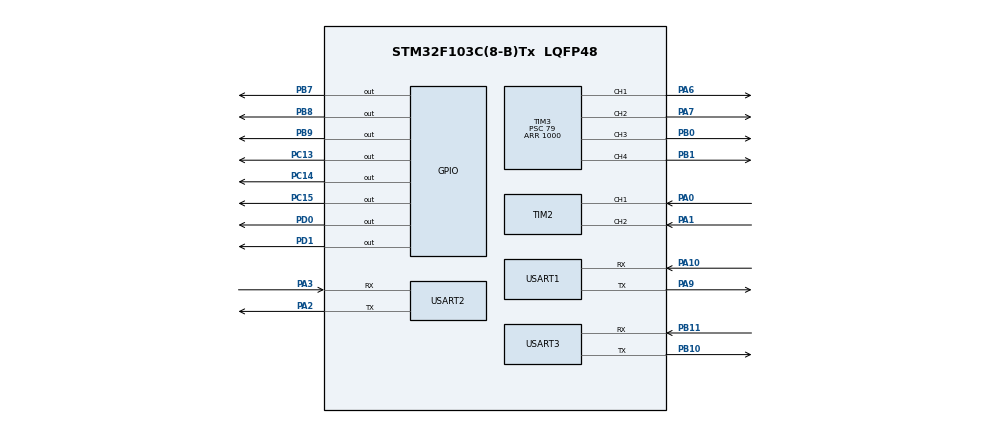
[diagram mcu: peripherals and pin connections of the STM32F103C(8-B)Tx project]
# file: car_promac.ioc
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Mcu.Family=STM32F1
Mcu.Name=STM32F103C(8-B)Tx
Mcu.Package=LQFP48
NVIC.PriorityGroup=NVIC_PRIORITYGROUP_4
NVIC.TIM1_UP_IRQn=true\:0\:0\:false\:false\:true\:true\:true\:true
NVIC.USART1_IRQn=true\:0\:0\:false\:false\:true\:true\:true\:true
NVIC.USART2_IRQn=true\:0\:0\:false\:false\:true\:true\:true\:true
PA0-WKUP.Signal=S_TIM2_CH1_ETR
PA1.Signal=S_TIM2_CH2
PA10.Mode=Asynchronous
PA10.Signal=USART1_RX
PA13.Mode=Serial_Wire
PA13.Signal=SYS_JTMS-SWDIO
PA14.Mode=Serial_Wire
PA14.Signal=SYS_JTCK-SWCLK
PA2.Mode=Asynchronous
PA2.Signal=USART2_TX
PA3.Mode=Asynchronous
PA3.Signal=USART2_RX
PA6.Signal=S_TIM3_CH1
PA7.Signal=S_TIM3_CH2
PA9.Mode=Asynchronous
PA9.Signal=USART1_TX
PB0.Signal=S_TIM3_CH3
PB1.Signal=S_TIM3_CH4
PB10.Mode=Asynchronous
PB10.Signal=USART3_TX
PB11.Mode=Asynchronous
PB11.Signal=USART3_RX
PB7.Signal=GPIO_Output
PB8.Signal=GPIO_Output
PB9.Signal=GPIO_Output
PC13-TAMPER-RTC.Signal=GPIO_Output
PC14-OSC32_IN.Signal=GPIO_Output
PC15-OSC32_OUT.Signal=GPIO_Output
PD0-OSC_IN.Signal=GPIO_Output
PD1-OSC_OUT.Signal=GPIO_Output
ProjectManager.HeapSize=0x200
ProjectManager.StackSize=0x400
ProjectManager.TargetToolchain=MDK-ARM V5.32
RCC.APB1Freq_Value=8000000
RCC.APB2Freq_Value=8000000
SH.S_TIM2_CH1_ETR.0=TIM2_CH1,Encoder_Interface
SH.S_TIM2_CH2.0=TIM2_CH2,Encoder_Interface
SH.S_TIM3_CH1.0=TIM3_CH1,PWM Generation1 CH1
SH.S_TIM3_CH2.0=TIM3_CH2,PWM Generation2 CH2
SH.S_TIM3_CH3.0=TIM3_CH3,PWM Generation3 CH3
SH.S_TIM3_CH4.0=TIM3_CH4,PWM Generation4 CH4
TIM1.Period=1000
TIM1.Prescaler=799
TIM3.Channel-PWM\ Generation1\ CH1=TIM_CHANNEL_1
TIM3.Channel-PWM\ Generation2\ CH2=TIM_CHANNEL_2
TIM3.Channel-PWM\ Generation3\ CH3=TIM_CHANNEL_3
TIM3.Channel-PWM\ Generation4\ CH4=TIM_CHANNEL_4
TIM3.Period=1000
TIM3.Prescaler=79
USART1.VirtualMode=VM_ASYNC
USART2.VirtualMode=VM_ASYNC
USART3.VirtualMode=VM_ASYNC
VP_TIM1_VS_ClockSourceINT.Mode=Internal
board=custom

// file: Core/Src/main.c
/* USER CODE BEGIN Header */
/**
  ******************************************************************************
  * @file           : main.c
  * @brief          : Main program body
  ******************************************************************************
  * @attention
  *
  * Copyright (c) 2026 STMicroelectronics.
  * All rights reserved.
  *
  * This software is licensed under terms that can be found in the LICENSE file
  * in the root directory of this software component.
  * If no LICENSE file comes with this software, it is provided AS-IS.
  *
  ******************************************************************************
  */

/* USER CODE END Header */
#include "main.h"

/* USER CODE BEGIN Includes */
#include "../../BSP/BLUE/blue.h"
#include "../../BSP/RECEIVE/receive.h"
#include "../../BSP/PID/pid.h"
extern PID pid_fl;
extern PID pid_fr;extern PID pid_rl;extern PID pid_rr;
work_state work={0};
work_state work_fr={0};
work_state work_rr={0};
work_state work_rl={0};
/* USER CODE END Includes */

TIM_HandleTypeDef htim1;
TIM_HandleTypeDef htim2;
TIM_HandleTypeDef htim3;

UART_HandleTypeDef huart1;
UART_HandleTypeDef huart2;
UART_HandleTypeDef huart3;

void SystemClock_Config(void);
static void MX_GPIO_Init(void);
static void MX_TIM3_Init(void);
static void MX_USART1_UART_Init(void);
static void MX_TIM2_Init(void);
static void MX_TIM1_Init(void);
static void MX_USART2_UART_Init(void);
static void MX_USART3_UART_Init(void);

int main(void)
{

  /* MCU Configuration--------------------------------------------------------*/

  /* Reset of all peripherals, Initializes the Flash interface and the Systick. */
  HAL_Init();

  /* Configure the system clock */
  SystemClock_Config();

  /* Initialize all configured peripherals */
  MX_GPIO_Init();
  MX_TIM3_Init();
  MX_USART1_UART_Init();
  MX_TIM2_Init();
  MX_TIM1_Init();
  MX_USART2_UART_Init();
  MX_USART3_UART_Init();

  /* Infinite loop */
  /* USER CODE BEGIN WHILE */
bt_start();
HAL_TIM_PWM_Start (&htim3,TIM_CHANNEL_1);
HAL_TIM_PWM_Start (&htim3 ,TIM_CHANNEL_2);
HAL_TIM_PWM_Start (&htim3 ,TIM_CHANNEL_3);
HAL_TIM_PWM_Start (&htim3 ,TIM_CHANNEL_4);

pid_init_fl (&pid_fl,2.0f,4.0f,0.0f,250.0,1000.0 );

pid_init_fr (&pid_fr,2.0f,4.0f,0.0f,250.0,1000.0 );

pid_init_rl (&pid_rl,2.0f,4.0f,0.0f,250.0,1000.0 );

pid_init_rr (&pid_rr,2.0f,4.0f,0.0f,250.0,1000.0 );

uart_receive_start ();

HAL_TIM_Encoder_Start(&htim2, TIM_CHANNEL_1);
	HAL_TIM_Base_Start_IT(&htim1);

  while (1)
  {

	 if(get_bit(&work)==true){

	 }

    /* USER CODE END WHILE */

  }
}

void SystemClock_Config(void)
{
  RCC_OscInitTypeDef RCC_OscInitStruct = {0};
  RCC_ClkInitTypeDef RCC_ClkInitStruct = {0};

  /** Initializes the RCC Oscillators according to the specified parameters
  * in the RCC_OscInitTypeDef structure.
  */
  RCC_OscInitStruct.OscillatorType = RCC_OSCILLATORTYPE_HSI;
  RCC_OscInitStruct.HSIState = RCC_HSI_ON;
  RCC_OscInitStruct.HSICalibrationValue = RCC_HSICALIBRATION_DEFAULT;
  RCC_OscInitStruct.PLL.PLLState = RCC_PLL_NONE;
  if (HAL_RCC_OscConfig(&RCC_OscInitStruct) != HAL_OK)
  {
    Error_Handler();
  }

  /** Initializes the CPU, AHB and APB buses clocks
  */
  RCC_ClkInitStruct.ClockType = RCC_CLOCKTYPE_HCLK|RCC_CLOCKTYPE_SYSCLK
                              |RCC_CLOCKTYPE_PCLK1|RCC_CLOCKTYPE_PCLK2;
  RCC_ClkInitStruct.SYSCLKSource = RCC_SYSCLKSOURCE_HSI;
  RCC_ClkInitStruct.AHBCLKDivider = RCC_SYSCLK_DIV1;
  RCC_ClkInitStruct.APB1CLKDivider = RCC_HCLK_DIV1;
  RCC_ClkInitStruct.APB2CLKDivider = RCC_HCLK_DIV1;

  if (HAL_RCC_ClockConfig(&RCC_ClkInitStruct, FLASH_LATENCY_0) != HAL_OK)
  {
    Error_Handler();
  }
}

static void MX_TIM1_Init(void)
{

  TIM_ClockConfigTypeDef sClockSourceConfig = {0};
  TIM_MasterConfigTypeDef sMasterConfig = {0};

  htim1.Instance = TIM1;
  htim1.Init.Prescaler = 799;
  htim1.Init.CounterMode = TIM_COUNTERMODE_UP;
  htim1.Init.Period = 1000;
  htim1.Init.ClockDivision = TIM_CLOCKDIVISION_DIV1;
  htim1.Init.RepetitionCounter = 0;
  htim1.Init.AutoReloadPreload = TIM_AUTORELOAD_PRELOAD_DISABLE;
  if (HAL_TIM_Base_Init(&htim1) != HAL_OK)
  {
    Error_Handler();
  }
  sClockSourceConfig.ClockSource = TIM_CLOCKSOURCE_INTERNAL;
  if (HAL_TIM_ConfigClockSource(&htim1, &sClockSourceConfig) != HAL_OK)
  {
    Error_Handler();
  }
  sMasterConfig.MasterOutputTrigger = TIM_TRGO_RESET;
  sMasterConfig.MasterSlaveMode = TIM_MASTERSLAVEMODE_DISABLE;
  if (HAL_TIMEx_MasterConfigSynchronization(&htim1, &sMasterConfig) != HAL_OK)
  {
    Error_Handler();
  }

}

static void MX_TIM2_Init(void)
{

  TIM_Encoder_InitTypeDef sConfig = {0};
  TIM_MasterConfigTypeDef sMasterConfig = {0};

  htim2.Instance = TIM2;
  htim2.Init.Prescaler = 0;
  htim2.Init.CounterMode = TIM_COUNTERMODE_UP;
  htim2.Init.Period = 65535;
  htim2.Init.ClockDivision = TIM_CLOCKDIVISION_DIV1;
  htim2.Init.AutoReloadPreload = TIM_AUTORELOAD_PRELOAD_DISABLE;
  sConfig.EncoderMode = TIM_ENCODERMODE_TI1;
  sConfig.IC1Polarity = TIM_ICPOLARITY_RISING;
  sConfig.IC1Selection = TIM_ICSELECTION_DIRECTTI;
  sConfig.IC1Prescaler = TIM_ICPSC_DIV1;
  sConfig.IC1Filter = 0;
  sConfig.IC2Polarity = TIM_ICPOLARITY_RISING;
  sConfig.IC2Selection = TIM_ICSELECTION_DIRECTTI;
  sConfig.IC2Prescaler = TIM_ICPSC_DIV1;
  sConfig.IC2Filter = 0;
  if (HAL_TIM_Encoder_Init(&htim2, &sConfig) != HAL_OK)
  {
    Error_Handler();
  }
  sMasterConfig.MasterOutputTrigger = TIM_TRGO_RESET;
  sMasterConfig.MasterSlaveMode = TIM_MASTERSLAVEMODE_DISABLE;
  if (HAL_TIMEx_MasterConfigSynchronization(&htim2, &sMasterConfig) != HAL_OK)
  {
    Error_Handler();
  }

}

static void MX_TIM3_Init(void)
{

  TIM_MasterConfigTypeDef sMasterConfig = {0};
  TIM_OC_InitTypeDef sConfigOC = {0};

  htim3.Instance = TIM3;
  htim3.Init.Prescaler = 79;
  htim3.Init.CounterMode = TIM_COUNTERMODE_UP;
  htim3.Init.Period = 1000;
  htim3.Init.ClockDivision = TIM_CLOCKDIVISION_DIV1;
  htim3.Init.AutoReloadPreload = TIM_AUTORELOAD_PRELOAD_DISABLE;
  if (HAL_TIM_PWM_Init(&htim3) != HAL_OK)
  {
    Error_Handler();
  }
  sMasterConfig.MasterOutputTrigger = TIM_TRGO_RESET;
  sMasterConfig.MasterSlaveMode = TIM_MASTERSLAVEMODE_DISABLE;
  if (HAL_TIMEx_MasterConfigSynchronization(&htim3, &sMasterConfig) != HAL_OK)
  {
    Error_Handler();
  }
  sConfigOC.OCMode = TIM_OCMODE_PWM1;
  sConfigOC.Pulse = 0;
  sConfigOC.OCPolarity = TIM_OCPOLARITY_HIGH;
  sConfigOC.OCFastMode = TIM_OCFAST_DISABLE;
  if (HAL_TIM_PWM_ConfigChannel(&htim3, &sConfigOC, TIM_CHANNEL_1) != HAL_OK)
  {
    Error_Handler();
  }
  if (HAL_TIM_PWM_ConfigChannel(&htim3, &sConfigOC, TIM_CHANNEL_2) != HAL_OK)
  {
    Error_Handler();
  }
  if (HAL_TIM_PWM_ConfigChannel(&htim3, &sConfigOC, TIM_CHANNEL_3) != HAL_OK)
  {
    Error_Handler();
  }
  if (HAL_TIM_PWM_ConfigChannel(&htim3, &sConfigOC, TIM_CHANNEL_4) != HAL_OK)
  {
    Error_Handler();
  }
  HAL_TIM_MspPostInit(&htim3);

}

static void MX_USART1_UART_Init(void)
{

  huart1.Instance = USART1;
  huart1.Init.BaudRate = 115200;
  huart1.Init.WordLength = UART_WORDLENGTH_8B;
  huart1.Init.StopBits = UART_STOPBITS_1;
  huart1.Init.Parity = UART_PARITY_NONE;
  huart1.Init.Mode = UART_MODE_TX_RX;
  huart1.Init.HwFlowCtl = UART_HWCONTROL_NONE;
  huart1.Init.OverSampling = UART_OVERSAMPLING_16;
  if (HAL_UART_Init(&huart1) != HAL_OK)
  {
    Error_Handler();
  }

}

static void MX_USART2_UART_Init(void)
{

  huart2.Instance = USART2;
  huart2.Init.BaudRate = 115200;
  huart2.Init.WordLength = UART_WORDLENGTH_8B;
  huart2.Init.StopBits = UART_STOPBITS_1;
  huart2.Init.Parity = UART_PARITY_NONE;
  huart2.Init.Mode = UART_MODE_TX_RX;
  huart2.Init.HwFlowCtl = UART_HWCONTROL_NONE;
  huart2.Init.OverSampling = UART_OVERSAMPLING_16;
  if (HAL_UART_Init(&huart2) != HAL_OK)
  {
    Error_Handler();
  }

}

static void MX_USART3_UART_Init(void)
{

  huart3.Instance = USART3;
  huart3.Init.BaudRate = 115200;
  huart3.Init.WordLength = UART_WORDLENGTH_8B;
  huart3.Init.StopBits = UART_STOPBITS_1;
  huart3.Init.Parity = UART_PARITY_NONE;
  huart3.Init.Mode = UART_MODE_TX_RX;
  huart3.Init.HwFlowCtl = UART_HWCONTROL_NONE;
  huart3.Init.OverSampling = UART_OVERSAMPLING_16;
  if (HAL_UART_Init(&huart3) != HAL_OK)
  {
    Error_Handler();
  }

}

static void MX_GPIO_Init(void)
{
  GPIO_InitTypeDef GPIO_InitStruct = {0};

  /* GPIO Ports Clock Enable */
  __HAL_RCC_GPIOC_CLK_ENABLE();
  __HAL_RCC_GPIOD_CLK_ENABLE();
  __HAL_RCC_GPIOA_CLK_ENABLE();
  __HAL_RCC_GPIOB_CLK_ENABLE();

  /*Configure GPIO pin Output Level */
  HAL_GPIO_WritePin(GPIOC, GPIO_PIN_13|GPIO_PIN_14|GPIO_PIN_15, GPIO_PIN_RESET);

  /*Configure GPIO pin Output Level */
  HAL_GPIO_WritePin(GPIOD, GPIO_PIN_0|GPIO_PIN_1, GPIO_PIN_RESET);

  /*Configure GPIO pin Output Level */
  HAL_GPIO_WritePin(GPIOB, GPIO_PIN_7|GPIO_PIN_8|GPIO_PIN_9, GPIO_PIN_RESET);

  /*Configure GPIO pins : PC13 PC14 PC15 */
  GPIO_InitStruct.Pin = GPIO_PIN_13|GPIO_PIN_14|GPIO_PIN_15;
  GPIO_InitStruct.Mode = GPIO_MODE_OUTPUT_PP;
  GPIO_InitStruct.Pull = GPIO_NOPULL;
  GPIO_InitStruct.Speed = GPIO_SPEED_FREQ_LOW;
  HAL_GPIO_Init(GPIOC, &GPIO_InitStruct);

  /*Configure GPIO pins : PD0 PD1 */
  GPIO_InitStruct.Pin = GPIO_PIN_0|GPIO_PIN_1;
  GPIO_InitStruct.Mode = GPIO_MODE_OUTPUT_PP;
  GPIO_InitStruct.Pull = GPIO_NOPULL;
  GPIO_InitStruct.Speed = GPIO_SPEED_FREQ_LOW;
  HAL_GPIO_Init(GPIOD, &GPIO_InitStruct);

  /*Configure GPIO pins : PB7 PB8 PB9 */
  GPIO_InitStruct.Pin = GPIO_PIN_7|GPIO_PIN_8|GPIO_PIN_9;
  GPIO_InitStruct.Mode = GPIO_MODE_OUTPUT_PP;
  GPIO_InitStruct.Pull = GPIO_NOPULL;
  GPIO_InitStruct.Speed = GPIO_SPEED_FREQ_LOW;
  HAL_GPIO_Init(GPIOB, &GPIO_InitStruct);

  /*Configure peripheral I/O remapping */
  __HAL_AFIO_REMAP_PD01_ENABLE();

}

void Error_Handler(void)
{
  __disable_irq();
  while (1)
  {
  }
}
